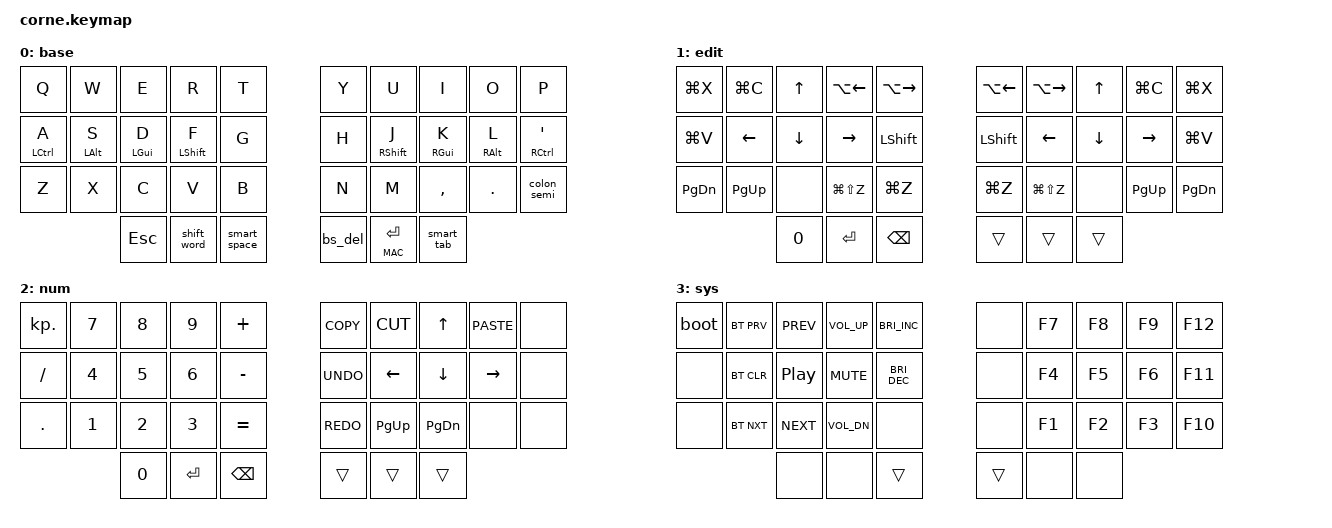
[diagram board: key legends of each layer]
/*
 * https://github.com/zmkfirmware/zmk/blob/main/app/include/dt-bindings/zmk/keys.h
 */

#include <behaviors.dtsi>
#include "zmk-helpers/helper.h"
#include "zmk-helpers/key-labels/36.h"
#include <dt-bindings/zmk/keys.h>
#include <dt-bindings/zmk/bt.h>

#define DEF 0
#define MAC 1
#define WIN 2
#define SYS 3

#define XXX &none
#define ___ &trans

#define QUICK_TAP_MS 175

#define KEYS_L LT0 LT1 LT2 LT3 LT4 LM0 LM1 LM2 LM3 LM4 LB0 LB1 LB2 LB3 LB4 /* left hand  */
#define KEYS_R RT0 RT1 RT2 RT3 RT4 RM0 RM1 RM2 RM3 RM4 RB0 RB1 RB2 RB3 RB4 /* right hand */
#define THUMBS LH2 LH1 LH0 RH0 RH1 RH2                                      /* thumbs     */

// ---------- SETTINGS ----------

&sk {  // sticky-key config
    release-after-ms = <1000>; // release after 1s
    quick-release;             // no double capitalization when rolling keys
};

&sl {  // sticky-layer config
    ignore-modifiers;          // allow chording sticky mods & layers
};

&lt {  // layer-tap config
    flavor = "balanced";
    tapping-term-ms = <200>;
    quick-tap-ms = <QUICK_TAP_MS>;
};

// ----------- COMBOS -----------
#undef COMBO_HOOK
#define COMBO_HOOK require-prior-idle-ms = <150>;
#define COMBO_TERM_FAST 25
#define COMBO_TERM_SLOW 50

// parentheses ()
ZMK_COMBO(lpar, &kp LPAR, LT2 LT3, DEF, COMBO_TERM_FAST)
ZMK_COMBO(rpar, &kp RPAR, LT1 LT2, DEF, COMBO_TERM_FAST)

// left and right right brace { }
ZMK_COMBO(lbrc, &kp LBRC, LM2 LM3, DEF, COMBO_TERM_FAST)
ZMK_COMBO(rbrc, &kp RBRC, LM1 LM2, DEF, COMBO_TERM_FAST)

// left and right bracket [ ]
ZMK_COMBO(lbkt, &kp LBKT, LB2 LB3, DEF MAC, COMBO_TERM_FAST)
ZMK_COMBO(rbkt, &kp RBKT, LB1 LB2, DEF MAC, COMBO_TERM_FAST)

// mac jump left and right 1 word
ZMK_COMBO(workspace_left,  &kp LA(LEFT),  RM2 RM1, DEF MAC, COMBO_TERM_FAST)
ZMK_COMBO(workspace_right, &kp LA(RIGHT), RM3 RM2, DEF MAC, COMBO_TERM_FAST)

// ? slash backslash 
ZMK_COMBO(quest, &kp QUESTION, RT1 RT0, DEF, COMBO_TERM_FAST)
ZMK_COMBO(bksl, &kp BACKSLASH, RT3 RT2, DEF MAC, COMBO_TERM_FAST)
ZMK_COMBO(sl, &kp SLASH, RT2 RT1, DEF MAC, COMBO_TERM_FAST)

// symbols on vert
ZMK_COMBO(excl, &kp EXCL, LT4 LM4, DEF, COMBO_TERM_FAST)
ZMK_COMBO(at, &kp AT, LT3 LM3, DEF, COMBO_TERM_FAST)
ZMK_COMBO(hash, &kp HASH, LT2 LM2, DEF, COMBO_TERM_FAST)
ZMK_COMBO(dollar, &kp DOLLAR, LT1 LM1, DEF, COMBO_TERM_FAST)
ZMK_COMBO(perc, &kp PERCENT, LT0 LM0, DEF, COMBO_TERM_FAST)

ZMK_COMBO(caret, &kp CARET, RT0 RM0, DEF, COMBO_TERM_FAST)
ZMK_COMBO(amper, &kp AMPERSAND, RT1 RM1, DEF, COMBO_TERM_FAST)
ZMK_COMBO(ast, &kp KP_ASTERISK, RT2 RM2, DEF, COMBO_TERM_FAST)
ZMK_COMBO(minus, &kp MINUS, RT3 RM3, DEF, COMBO_TERM_FAST)
ZMK_COMBO(equals, &kp EQUAL, RT4 RM4, DEF, COMBO_TERM_FAST)

//ZMK_BEHAVIOR(larr, macro,
//    wait-ms = <0>;
//    tap-ms = <5>;
//    bindings = <&kp LALT &kp LEFT>;
//)
//ZMK_BEHAVIOR(rarr, macro,
//   wait-ms = <0>;
//    tap-ms = <5>;
//    bindings = <&kp RALT &kp RIGHT>;
//)
//ZMK_COMBO(left_arrow,  &larr, RM2 RM1, DEF MAC, COMBO_TERM_FAST)
//ZMK_COMBO(right_arrow, &rarr, RM3 RM2, DEF MAC, COMBO_TERM_FAST)

// ----------- KEYMAP -----------

// Cross-hand only home row mods
#define MAKE_HRM(NAME, HOLD, TAP, TRIGGER_POS) \
    ZMK_BEHAVIOR(NAME, hold_tap, \
        flavor = "balanced"; \
        tapping-term-ms = <280>; \
        quick-tap-ms = <QUICK_TAP_MS>; \
        require-prior-idle-ms = <150>; \
        bindings = <HOLD>, <TAP>; \
        hold-trigger-key-positions = <TRIGGER_POS>; \
        hold-trigger-on-release; \
    )
MAKE_HRM(hml, &kp, &kp, KEYS_R THUMBS)  // left-hand HRMs
MAKE_HRM(hmr, &kp, &kp, KEYS_L THUMBS)  // right-hand HRMs

// tap: sticky shift | shift + tap or double-tap: caps word | hold: MAC (unused)
//#define smart_shift smart_shift_inner MAC 0
//ZMK_BEHAVIOR(smart_shift_inner, hold_tap,
//    flavor = "balanced";
//    tapping-term-ms = <200>;
//    quick-tap-ms = <QUICK_TAP_MS>;
//    bindings = <&mo>, <&shift_word>;
//)
ZMK_BEHAVIOR(shift_word, mod_morph,
    bindings = <&sk LSHFT>, <&caps_word>;
    mods = <MOD_LSFT>;
)

// tap: backspace | lshft + tap: delete
ZMK_BEHAVIOR(bs_del, mod_morph,
    bindings = <&kp BSPC>, <&kp DEL>;
    mods = <MOD_LSFT>;
    /* keep-mods = <MOD_RSFT>; */
)

// reuse basic mod-morph scheme
#define SIMPLE_MORPH(NAME, MOD, BINDING1, BINDING2) \
    ZMK_BEHAVIOR(NAME, mod_morph, \
        mods = <(MOD_L ## MOD|MOD_R ## MOD)>; \
        bindings = <BINDING1>, <BINDING2>; \
    )

// tap: semi | shift + tap: colon
SIMPLE_MORPH(colon_semi, SFT, &kp SEMI, &kp COLON)

// tap: apos | shift + tap: quote
//SIMPLE_MORPH(apos_quote, SFT, &kp APOS, &kp DQT)

// tap: plus | shift + tap: equal
//SIMPLE_MORPH(plus_equal, SFT, &kp PLUS, &kp EQUAL)

// tap: space | shift + tap: dot -> space -> sticky shift | hold: space
SIMPLE_MORPH(smart_space, SFT, &kp SPACE, &dot_space)
ZMK_BEHAVIOR(dot_space, macro,
    wait-ms = <0>;
    tap-ms = <5>;
    bindings = <&kp DOT &kp SPACE &sk LSHFT>;
)

// tap: TAB | control + tap: TILDE | control + shift + tap: GRAVE | hold: WINc layer
#define smart_tab smart_tab_inner WIN 0
ZMK_BEHAVIOR(smart_tab_inner, hold_tap,
    flavor = "balanced";
    tapping-term-ms = <200>;
    quick-tap-ms = <QUICK_TAP_MS>;
    bindings = <&mo>, <&tab_tilde_grave>;
)
SIMPLE_MORPH(tab_tilde_grave, CTL, &kp TAB, &tilde_grave)
SIMPLE_MORPH(tilde_grave, SFT, &kp TILDE, &tilde_grave_inner)
ZMK_BEHAVIOR(tilde_grave_inner, mod_morph,
    mods = <(MOD_LSFT|MOD_LCTL)>; // need to clear the outer mods
    bindings = <&kp GRAVE>, <&kp GRAVE>;
)

// double-tap to enter bootloader
ZMK_BEHAVIOR(boot, tap_dance,
    bindings = <&none>, <&bootloader>;
)

ZMK_CONDITIONAL_LAYER(SYS,MAC WIN, SYS)

ZMK_LAYER(base,
// ╭─────────────┬─────────────┬─────────────┬─────────────┬─────────────╮   ╭─────────────┬─────────────┬─────────────┬─────────────┬─────────────╮
        &kp Q         &kp W         &kp E         &kp R         &kp T            &kp Y         &kp U         &kp I         &kp O         &kp P
// ├─────────────┼─────────────┼─────────────┼─────────────┼─────────────┤   ├─────────────┼─────────────┼─────────────┼─────────────┼─────────────┤
     &hml LCTRL A   &hml LALT S  &hml LGUI D  &hml LSHFT F     &kp G             &kp H       &hmr RSHFT J  &hmr RGUI K   &hmr RALT L   &hmr RCTRL APOS
// ├─────────────┼─────────────┼─────────────┼─────────────┼─────────────┤   ├─────────────┼─────────────┼─────────────┼─────────────┼─────────────┤
        &kp Z         &kp X         &kp C         &kp V         &kp B             &kp N         &kp M       &kp COMMA      &kp DOT     &colon_semi
// ╰─────────────┴─────────────┼─────────────┼─────────────┼─────────────┤   ├─────────────┼─────────────┼─────────────┼─────────────┴─────────────╯
                                   &kp ESC     &shift_word   &smart_space        &bs_del    &lt MAC ENTER   &smart_tab
//                                 esc        shft/caps/MAC  space/period       back/del    &lt MAC/ENTER   tab/tilde/grave/WIN
//                             ╰─────────────┴─────────────┴─────────────╯   ╰─────────────┴─────────────┴─────────────╯
) 

ZMK_LAYER(edit,
// ╭─────────────┬─────────────┬─────────────┬─────────────┬─────────────╮   ╭─────────────┬─────────────┬─────────────┬─────────────┬─────────────╮
      &kp LG(X)     &kp LG(C)      &kp UP       &kp LA(LEFT)  &kp LA(RIGHT)    &kp LA(LEFT)  &kp LA(RIGHT)   &kp UP       &kp LG(C)     &kp LG(X)       
// ├─────────────┼─────────────┼─────────────┼─────────────┼─────────────┤   ├─────────────┼─────────────┼─────────────┼─────────────┼─────────────┤
      &kp LG(V)     &kp LEFT       &kp DOWN     &kp RIGHT     &kp LSHFT        &kp LSHFT     &kp LEFT        &kp DOWN     &kp RIGHT     &kp LG(V)
// ├─────────────┼─────────────┼─────────────┼─────────────┼─────────────┤   ├─────────────┼─────────────┼─────────────┼─────────────┼─────────────┤
      &kp PG_DN     &kp PG_UP        XXX      &kp LG(LS(Z))   &kp LG(Z)        &kp LG(Z)     &kp LG(LS(Z))      XXX       &kp PG_UP     &kp PG_DN            
// ╰─────────────┴─────────────┼─────────────┼─────────────┼─────────────┤   ├─────────────┼─────────────┼─────────────┼─────────────┴─────────────╯
                                   &kp N0      &kp ENTER      &kp BSPC          ___           ___              ___  
//                             ╰─────────────┴─────────────┴─────────────╯   ╰─────────────┴─────────────┴─────────────╯
)

ZMK_LAYER(num,
// ╭─────────────┬─────────────┬─────────────┬─────────────┬─────────────╮   ╭─────────────┬─────────────┬─────────────┬─────────────┬─────────────╮
      &kp KP_DOT     &kp N7        &kp N8        &kp N9       &kp PLUS          &kp K_COPY    &kp K_CUT      &kp UP      &kp K_PASTE     XXX  
// ├─────────────┼─────────────┼─────────────┼─────────────┼─────────────┤   ├─────────────┼─────────────┼─────────────┼─────────────┼─────────────┤
      &kp SLASH      &kp N4        &kp N5        &kp N6       &kp MINUS         &kp K_UNDO    &kp LEFT      &kp DOWN      &kp RIGHT      XXX
// ├─────────────┼─────────────┼─────────────┼─────────────┼─────────────┤   ├─────────────┼─────────────┼─────────────┼─────────────┼─────────────┤
       &kp DOT       &kp N1        &kp N2        &kp N3       &kp EQUAL         &kp K_REDO     &kp PG_UP    &kp PG_DN       XXX         XXX
// ╰─────────────┴─────────────┼─────────────┼─────────────┼─────────────┤   ├─────────────┼─────────────┼─────────────┼─────────────┴─────────────╯
                                   &kp N0      &kp ENTER      &kp BSPC          ___           ___              ___
//                             ╰─────────────┴─────────────┴─────────────╯   ╰─────────────┴─────────────┴─────────────╯
)

ZMK_LAYER(sys,
// ╭─────────────┬─────────────┬─────────────┬─────────────┬─────────────╮   ╭─────────────┬─────────────┬─────────────┬─────────────┬─────────────╮
        &boot       &bt BT_PRV    &kp C_PREV   &kp C_VOL_UP  &kp C_BRI_INC         XXX       &kp F7         &kp F8       &kp F9        &kp F12
// ├─────────────┼─────────────┼─────────────┼─────────────┼─────────────┤   ├─────────────┼─────────────┼─────────────┼─────────────┼─────────────┤
         XXX        &bt BT_CLR    &kp C_PP     &kp C_MUTE    &kp C_BRI_DEC         XXX       &kp F4         &kp F5       &kp F6        &kp F11
// ├─────────────┼─────────────┼─────────────┼─────────────┼─────────────┤   ├─────────────┼─────────────┼─────────────┼─────────────┼─────────────┤
         XXX        &bt BT_NXT    &kp C_NEXT   &kp C_VOL_DN     XXX                XXX       &kp F1         &kp F2       &kp F3        &kp F10
// ╰─────────────┴─────────────┼─────────────┼─────────────┼─────────────┤   ├─────────────┼─────────────┼─────────────┼─────────────┴─────────────╯
                                     XXX           XXX           ___               ___           XXX           XXX
//                             ╰─────────────┴─────────────┴─────────────╯   ╰─────────────┴─────────────┴─────────────╯
)

// ╭─────────────┬─────────────┬─────────────┬─────────────┬─────────────╮   ╭─────────────┬─────────────┬─────────────┬─────────────┬─────────────╮
//       XXX           XXX           XXX           XXX           XXX               XXX           XXX           XXX           XXX           XXX
// ├─────────────┼─────────────┼─────────────┼─────────────┼─────────────┤   ├─────────────┼─────────────┼─────────────┼─────────────┼─────────────┤
//       XXX           XXX           XXX           XXX           XXX               XXX           XXX           XXX           XXX           XXX
// ├─────────────┼─────────────┼─────────────┼─────────────┼─────────────┤   ├─────────────┼─────────────┼─────────────┼─────────────┼─────────────┤
//       XXX           XXX           XXX           XXX           XXX               XXX           XXX           XXX           XXX           XXX
// ╰─────────────┴─────────────┼─────────────┼─────────────┼─────────────┤   ├─────────────┼─────────────┼─────────────┼─────────────┴─────────────╯
//                                   XXX           XXX           XXX               XXX           XXX           XXX
//                             ╰─────────────┴─────────────┴─────────────╯   ╰─────────────┴─────────────┴─────────────╯

/{ chosen { zmk,matrix-transform = &five_column_transform; }; };

// vim: filetype=c
